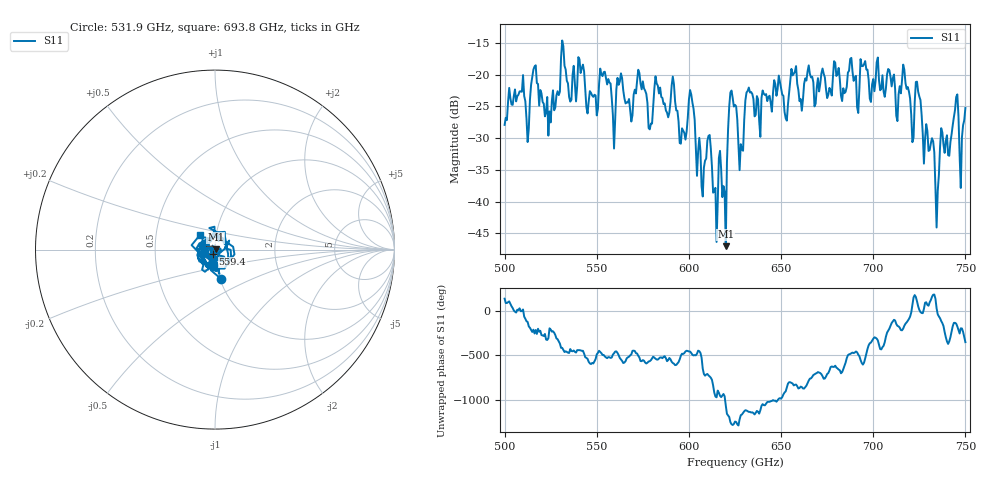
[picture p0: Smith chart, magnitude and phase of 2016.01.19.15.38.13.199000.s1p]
!Created with skrf (http://scikit-rf.org).
# GHz S RI R 50.0
!freq ReS11 ImS11
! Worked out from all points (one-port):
!   401 points, 500 GHz to 750 GHz, reference 50 ohm
!   lowest |S11| = -47.0 dB at 620 GHz (marker M1), VSWR 1.01, Z = 50.4 + j0.118 ohm
!   |S11| at or under -10 dB: start of sweep to end of sweep
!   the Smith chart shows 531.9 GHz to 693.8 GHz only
!   S11 on the Smith chart (normalised r, x): 531.9 GHz: 1.01, -0.34; 559.4 GHz: 0.98, -0.05; 693.8 GHz: 0.83, +0.14
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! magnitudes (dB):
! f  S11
! 500 GHz  -27.9
! 512.5 GHz  -30.6
! 516.2 GHz  -18.7
! 523.8 GHz  -29.6
! 531.2 GHz  -14.6
! 531.9 GHz  -15.5
! 559.4 GHz  -31.6
! 562.5 GHz  -21.1
! 593.8 GHz  -25.7
! 601.2 GHz  -23.1
! 607.5 GHz  -39.2
! 611.2 GHz  -29.5
! 614.4 GHz  -37.8
! 620 GHz  -47.0
! 622.5 GHz  -22.8
! 625 GHz  -24.7
! 628.1 GHz  -30.9
! 631.9 GHz  -22.6
! 652.5 GHz  -26.9
! 656.2 GHz  -20.1
! 687.5 GHz  -17.5
! 693.8 GHz  -18.6
! 718.8 GHz  -22.0
! 724.4 GHz  -22.7
! 734.4 GHz  -44.1
! 744.4 GHz  -25.6
! 748.1 GHz  -29.9
! 750 GHz  -25.2
